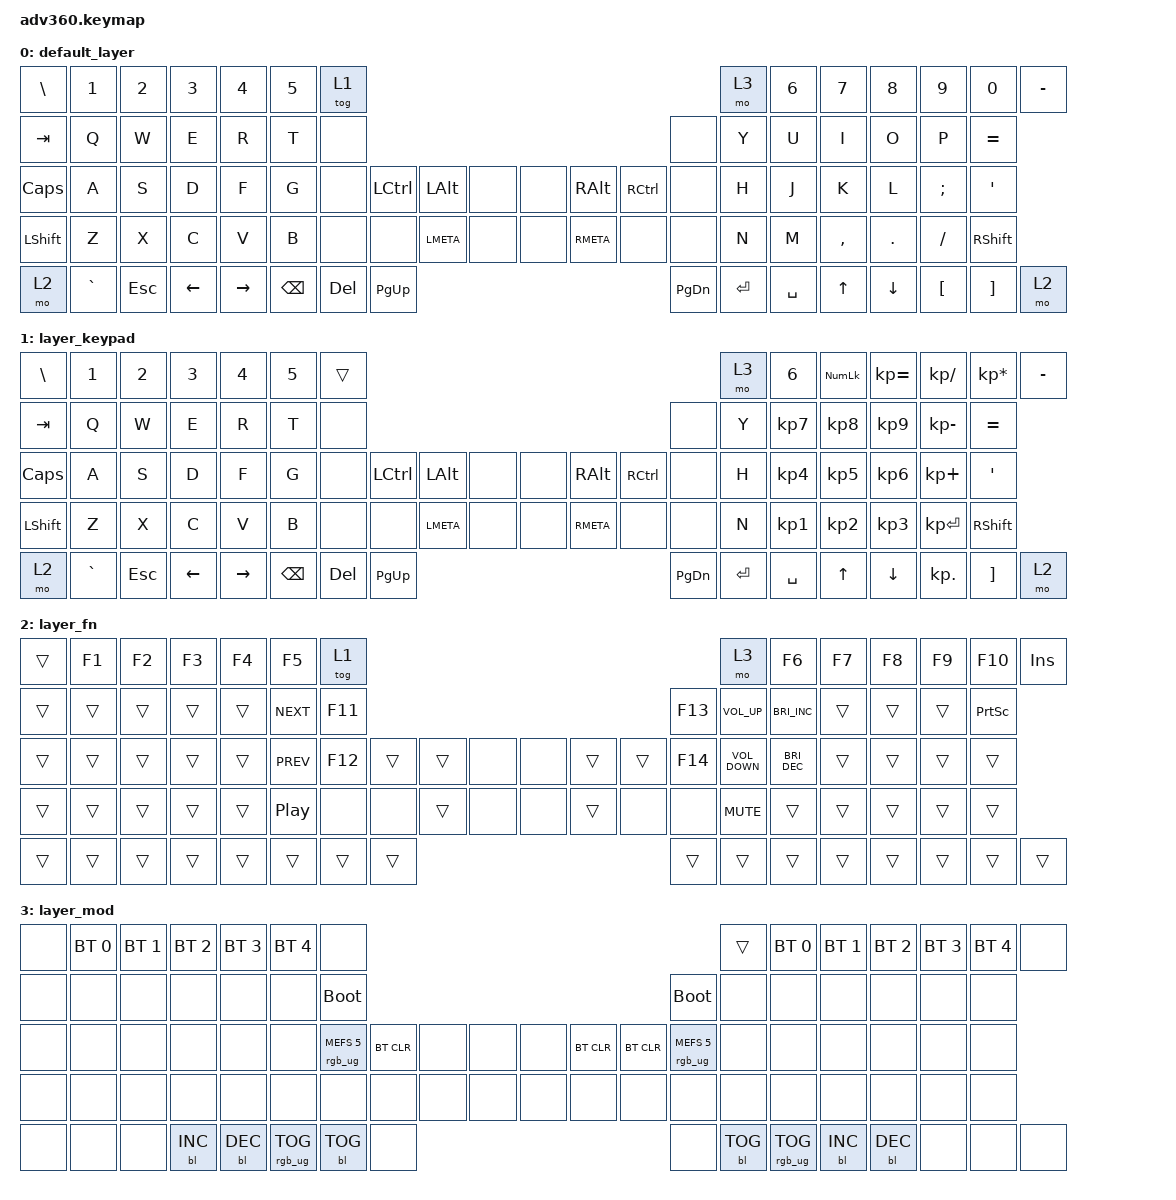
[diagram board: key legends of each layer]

/*
 * Copyright (c) 2020 The ZMK Contributors
 *
 * SPDX-License-Identifier: MIT
 */


/* THIS FILE WAS GENERATED!
 *
 * This file was generated automatically. You may or may not want to
 * edit it directly.
 */

#include <behaviors.dtsi>
#include <dt-bindings/zmk/keys.h>
#include <dt-bindings/zmk/bt.h>
#include <dt-bindings/zmk/rgb.h>
#include <dt-bindings/zmk/backlight.h>

/ {
  behaviors {
    #include "macros.dtsi"

    hm: homerow_mods {
        compatible = "zmk,behavior-hold-tap";
        label = "HOMEROW_MODS";
        #binding-cells = <2>;
        tapping-term-ms = <200>;
        quick_tap_ms = <175>;
        flavor = "tap-preferred";
        bindings = <&kp>, <&kp>;
    };
  };

    keymap {
        compatible = "zmk,keymap";


        default_layer {
            bindings = <
 &kp BACKSLASH     &kp N1      &kp N2    &kp N3     &kp N4  &kp N5                   &tog 1                                                                   &mo 3  &kp N6  &kp N7     &kp N8    &kp N9    &kp N0  &kp MINUS
       &kp TAB      &kp Q       &kp W     &kp E      &kp R   &kp T                    &none                                                                   &none   &kp Y   &kp U      &kp I     &kp O     &kp P  &kp EQUAL
      &kp CAPS      &kp A       &kp S     &kp D      &kp F   &kp G                    &none   &kp LCTRL   &kp LALT   &none   &none   &kp RALT  &kp RCTRL      &none   &kp H   &kp J      &kp K     &kp L  &kp SEMI    &kp SQT
     &kp LSHFT      &kp Z       &kp X     &kp C      &kp V   &kp B                    &none       &none  &kp LMETA   &none   &none  &kp RMETA      &none      &none   &kp N   &kp M  &kp COMMA   &kp DOT  &kp FSLH  &kp RSHFT
         &mo 2  &kp GRAVE  &kp ESCAPE  &kp LEFT  &kp RIGHT                    &kp BACKSPACE  &kp DELETE  &kp PG_UP                  &kp PG_DN  &kp ENTER  &kp SPACE          &kp UP   &kp DOWN  &kp LBKT  &kp RBKT      &mo 2
            >;
        };

        layer_keypad {
            bindings = <
 &kp BACKSLASH     &kp N1      &kp N2    &kp N3     &kp N4  &kp N5                   &trans                                                                   &mo 3  &kp N6  &kp KP_NUM  &kp KP_EQUAL  &kp KP_DIVIDE  &kp KP_MULTIPLY  &kp MINUS
       &kp TAB      &kp Q       &kp W     &kp E      &kp R   &kp T                    &none                                                                   &none   &kp Y   &kp KP_N7     &kp KP_N8      &kp KP_N9     &kp KP_MINUS  &kp EQUAL
      &kp CAPS      &kp A       &kp S     &kp D      &kp F   &kp G                    &none   &kp LCTRL   &kp LALT   &none   &none   &kp RALT  &kp RCTRL      &none   &kp H   &kp KP_N4     &kp KP_N5      &kp KP_N6      &kp KP_PLUS    &kp SQT
     &kp LSHFT      &kp Z       &kp X     &kp C      &kp V   &kp B                    &none       &none  &kp LMETA   &none   &none  &kp RMETA      &none      &none   &kp N   &kp KP_N1     &kp KP_N2      &kp KP_N3     &kp KP_ENTER  &kp RSHFT
         &mo 2  &kp GRAVE  &kp ESCAPE  &kp LEFT  &kp RIGHT                    &kp BACKSPACE  &kp DELETE  &kp PG_UP                  &kp PG_DN  &kp ENTER  &kp SPACE              &kp UP      &kp DOWN     &kp KP_DOT         &kp RBKT      &mo 2
            >;
        };

        layer_fn {
            bindings = <
 &trans  &kp F1  &kp F2  &kp F3  &kp F4      &kp F5             &tog 1                                                    &mo 3             &kp F6                &kp F7  &kp F8  &kp F9  &kp F10       &kp INSERT
 &trans  &trans  &trans  &trans  &trans  &kp C_NEXT            &kp F11                                                  &kp F13       &kp C_VOL_UP  &kp C_BRIGHTNESS_INC  &trans  &trans   &trans  &kp PRINTSCREEN
 &trans  &trans  &trans  &trans  &trans  &kp C_PREV            &kp F12  &trans  &trans   &none   &none  &trans  &trans  &kp F14  &kp C_VOLUME_DOWN  &kp C_BRIGHTNESS_DEC  &trans  &trans   &trans           &trans
 &trans  &trans  &trans  &trans  &trans    &kp C_PP              &none   &none  &trans   &none   &none  &trans   &none    &none         &kp C_MUTE                &trans  &trans  &trans   &trans           &trans
 &trans  &trans  &trans  &trans  &trans                         &trans  &trans  &trans                  &trans  &trans   &trans                                   &trans  &trans  &trans   &trans           &trans
            >;
        };

        layer_mod {
            bindings = <
  &none  &bt BT_SEL 0  &bt BT_SEL 1  &bt BT_SEL 2  &bt BT_SEL 3  &bt BT_SEL 4                             &none                                                                              &trans  &bt BT_SEL 0  &bt BT_SEL 1  &bt BT_SEL 2  &bt BT_SEL 3  &bt BT_SEL 4   &none
  &none         &none         &none         &none         &none         &none                       &bootloader                                                                         &bootloader         &none         &none         &none         &none         &none   &none
  &none         &none         &none         &none         &none         &none            &rgb_ug RGB_MEFS_CMD 5  &bt BT_CLR   &none   &none   &none  &bt BT_CLR  &bt BT_CLR  &rgb_ug RGB_MEFS_CMD 5         &none         &none         &none         &none         &none   &none
  &none         &none         &none         &none         &none         &none                             &none       &none   &none   &none   &none       &none       &none                   &none         &none         &none         &none         &none         &none   &none
  &none         &none         &none    &bl BL_INC    &bl BL_DEC                                 &rgb_ug RGB_TOG  &bl BL_TOG   &none                       &none  &bl BL_TOG         &rgb_ug RGB_TOG                  &bl BL_INC    &bl BL_DEC         &none         &none   &none
            >;
        };

    };
};
